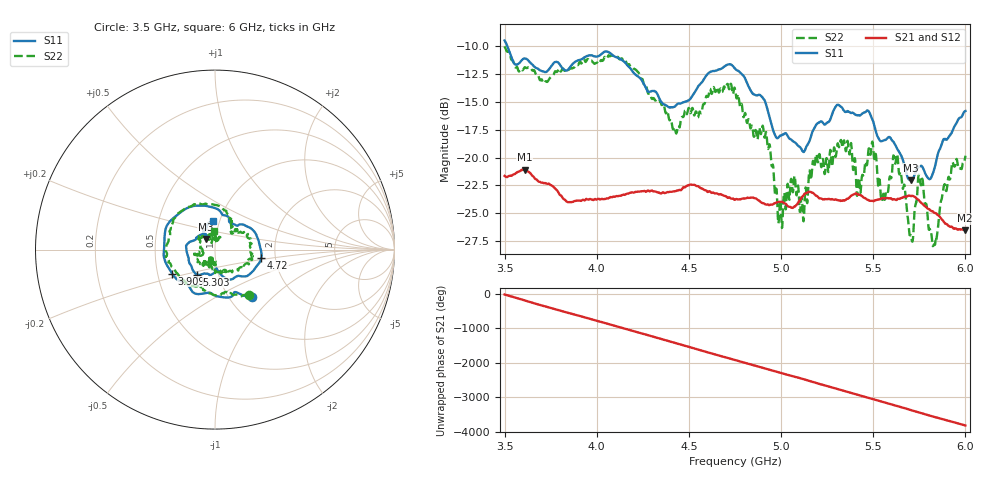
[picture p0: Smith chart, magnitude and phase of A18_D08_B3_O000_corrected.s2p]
! Created with skrf 1.9.0 (http://scikit-rf.org).
# Hz S RI R 50.0
!freq ReS11 ImS11 ReS21 ImS21 ReS12 ImS12 ReS22 ImS22
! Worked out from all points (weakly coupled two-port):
!   1601 points, 3.5 GHz to 6 GHz, reference 50 ohm
!   highest |S21| = -21.08 dB at 3.609 GHz (marker M1); lowest = -26.5 dB at 5.998 GHz (marker M2)
!   lowest |S11| = -22.1 dB at 5.706 GHz (marker M3), VSWR 1.17, Z = 44.7 + j5.32 ohm
!   |S11| at or under -10 dB: 3.515 GHz to end of sweep
!   |S22| runs from -27.9 to -10.0 dB; largest |S21 - S12| = 0.0011
!   S11 on the Smith chart (normalised r, x): 3.5 GHz: 1.27, -0.75; 3.909 GHz: 0.59, -0.17; 4.72 GHz: 1.68, -0.17; 5.303 GHz: 0.79, -0.23; 6 GHz: 0.93, +0.31
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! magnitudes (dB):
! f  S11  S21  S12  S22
! 3.5 GHz  -9.5  -21.6  -21.6  -10.0
! 3.609 GHz  -11.1  -21.1  -21.1  -11.9
! 3.909 GHz  -11.2  -23.9  -23.8  -11.4
! 3.917 GHz  -11.2  -23.9  -23.8  -11.6
! 4.334 GHz  -14.5  -23.1  -23.1  -14.9
! 4.425 GHz  -15.4  -23.0  -23.0  -17.4
! 4.72 GHz  -11.6  -23.6  -23.6  -13.9
! 4.75 GHz  -12.0  -23.8  -23.7  -13.9
! 4.911 GHz  -14.9  -24.2  -24.1  -18.2
! 4.995 GHz  -18.0  -24.0  -23.9  -23.8
! 5.064 GHz  -18.5  -24.5  -24.5  -23.1
! 5.114 GHz  -19.3  -23.5  -23.5  -23.9
! 5.167 GHz  -17.8  -23.1  -23.1  -21.2
! 5.303 GHz  -15.3  -23.8  -23.8  -19.0
! 5.584 GHz  -18.2  -23.6  -23.6  -22.5
! 5.623 GHz  -19.0  -23.8  -23.8  -20.2
! 5.706 GHz  -22.1  -23.5  -23.4  -27.1
! 5.753 GHz  -20.8  -23.9  -23.9  -21.9
! 5.833 GHz  -20.9  -25.0  -24.9  -27.8
! 5.88 GHz  -18.4  -25.7  -25.7  -22.9
! 5.998 GHz  -15.8  -26.5  -26.4  -20.0
! 6 GHz  -15.8  -26.5  -26.5  -19.8
